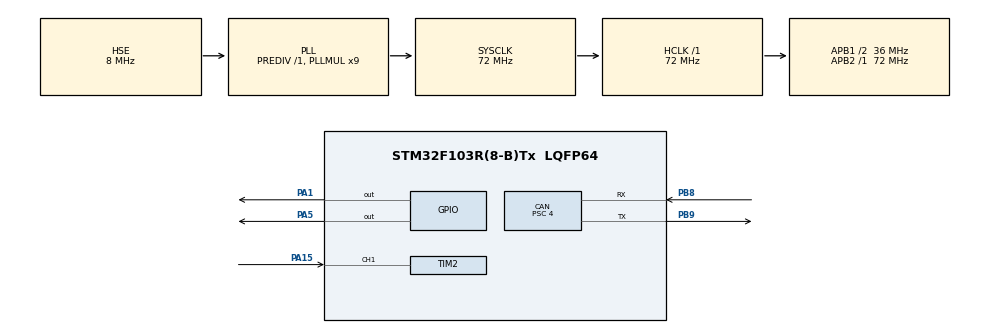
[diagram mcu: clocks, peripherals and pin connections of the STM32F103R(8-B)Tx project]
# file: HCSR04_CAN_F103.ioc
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CAN.BS1=CAN_BS1_15TQ
CAN.BS2=CAN_BS2_2TQ
CAN.CalculateBaudRate=500000
CAN.CalculateTimeBit=1999.99
CAN.CalculateTimeQuantum=111.11111111111111
CAN.Prescaler=4
Mcu.Family=STM32F1
Mcu.Name=STM32F103R(8-B)Tx
Mcu.Package=LQFP64
NVIC.CAN1_RX1_IRQn=true\:0\:0\:false\:false\:true\:true\:true
NVIC.PriorityGroup=NVIC_PRIORITYGROUP_4
NVIC.TIM1_UP_IRQn=true\:15\:0\:false\:false\:true\:false\:true
NVIC.TIM2_IRQn=true\:0\:0\:false\:false\:true\:true\:true
NVIC.TimeBase=TIM1_UP_IRQn
NVIC.TimeBaseIP=TIM1
PA1.Signal=GPIO_Output
PA13.Mode=Serial_Wire
PA13.Signal=SYS_JTMS-SWDIO
PA14.Mode=Serial_Wire
PA14.Signal=SYS_JTCK-SWCLK
PA15.Signal=S_TIM2_CH1_ETR
PA5.Signal=GPIO_Output
PB8.Mode=CAN_Activate
PB8.Signal=CAN_RX
PB9.Mode=CAN_Activate
PB9.Signal=CAN_TX
PD0-OSC_IN.Mode=HSE-External-Oscillator
PD0-OSC_IN.Signal=RCC_OSC_IN
PD1-OSC_OUT.Mode=HSE-External-Oscillator
PD1-OSC_OUT.Signal=RCC_OSC_OUT
ProjectManager.HeapSize=0x200
ProjectManager.StackSize=0x400
ProjectManager.TargetToolchain=STM32CubeIDE
RCC.AHBFreq_Value=72000000
RCC.APB1CLKDivider=RCC_HCLK_DIV2
RCC.APB1Freq_Value=36000000
RCC.APB1TimFreq_Value=72000000
RCC.APB2Freq_Value=72000000
RCC.APB2TimFreq_Value=72000000
RCC.HCLKFreq_Value=72000000
RCC.PLLMUL=RCC_PLL_MUL9
RCC.PLLSourceVirtual=RCC_PLLSOURCE_HSE
RCC.RTCClockSelection=RCC_RTCCLKSOURCE_LSE
RCC.SYSCLKFreq_VALUE=72000000
RCC.SYSCLKSource=RCC_SYSCLKSOURCE_PLLCLK
RCC.USBFreq_Value=72000000
SH.S_TIM2_CH1_ETR.0=TIM2_CH1,Input_Capture1_from_TI1
TIM2.Channel-Input_Capture1_from_TI1=TIM_CHANNEL_1
TIM2.Prescaler=72-1
VP_SYS_VS_tim1.Mode=TIM1
VP_TIM2_VS_ClockSourceINT.Mode=Internal
board=NUCLEO-F103RB

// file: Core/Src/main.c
/* USER CODE BEGIN Header */
/**
  ******************************************************************************
  * @file           : main.c
  * @brief          : Main program body
  ******************************************************************************
  * @attention
  *
  * <h2><center>&copy; Copyright (c) 2021 STMicroelectronics.
  * All rights reserved.</center></h2>
  *
  * This software component is licensed by ST under BSD 3-Clause license,
  * the "License"; You may not use this file except in compliance with the
  * License. You may obtain a copy of the License at:
  *                        opensource.org/licenses/BSD-3-Clause
  *
  ******************************************************************************
  */
/* USER CODE END Header */
#include "main.h"

/* USER CODE BEGIN Includes */
#include <string.h>
/* USER CODE END Includes */

/* USER CODE BEGIN PM */
#define TRIGGER_PORT	GPIOA
#define TRIGGER_PIN		GPIO_PIN_1
/* USER CODE END PM */

CAN_HandleTypeDef hcan;

TIM_HandleTypeDef htim2;

/* USER CODE BEGIN PV */

/* CAN Variables */
CAN_TxHeaderTypeDef TxHeader;
CAN_RxHeaderTypeDef RxHeader;
uint8_t TxData[8];
uint8_t RxData[8];
uint32_t TxMailbox;

const uint8_t idNumber = 0x10;
uint8_t comingData;

/* HCSR04 Variable */
uint32_t IC_Val1;
uint32_t IC_Val2;
uint32_t Difference;
uint8_t First_Capture;
uint16_t Distance;

/* USER CODE END PV */

void SystemClock_Config(void);
static void MX_GPIO_Init(void);
static void MX_CAN_Init(void);
static void MX_TIM2_Init(void);

/* USER CODE BEGIN 0 */

void delay_uS(uint16_t time)
{
	HAL_TIM_Base_Start(&htim2);
	__HAL_TIM_SET_COUNTER(&htim2,0);
	while( __HAL_TIM_GET_COUNTER(&htim2) < time );
	HAL_TIM_Base_Start(&htim2);
}

void HAL_TIM_IC_CaptureCallback(TIM_HandleTypeDef *htim)
{
	if(htim->Channel == HAL_TIM_ACTIVE_CHANNEL_1)
	{
		if(First_Capture == 0)
		{
			IC_Val1 = HAL_TIM_ReadCapturedValue(&htim2, TIM_CHANNEL_1);
			First_Capture = 1;

			__HAL_TIM_SET_CAPTUREPOLARITY(&htim2,TIM_CHANNEL_1,TIM_INPUTCHANNELPOLARITY_FALLING);
		}

		else if( First_Capture == 1)
		{
			IC_Val2 = HAL_TIM_ReadCapturedValue(&htim2, TIM_CHANNEL_1);
			__HAL_TIM_SET_COUNTER(&htim2,0);
			First_Capture = 0;

			if(IC_Val2 > IC_Val1)
			{
				Difference = IC_Val2 - IC_Val1;
			}

			else
			{
				Difference = (0xFFFF - IC_Val1) + IC_Val2;
			}

			Distance = Difference * (0.034 / 2);

			__HAL_TIM_SET_CAPTUREPOLARITY(&htim2,TIM_CHANNEL_1,TIM_INPUTCHANNELPOLARITY_RISING);
			__HAL_TIM_DISABLE_IT(&htim2,TIM_IT_CC1);
		}

	}

}

void HAL_CAN_RxFifo1MsgPendingCallback(CAN_HandleTypeDef *hcan)
{
	if(HAL_CAN_GetRxMessage(hcan, CAN_RX_FIFO1, &RxHeader, RxData) != HAL_OK)
	{
		Error_Handler();
	}

	if(memcmp(RxData, &idNumber, sizeof(idNumber)) == 0)
	{
		HAL_GPIO_WritePin(GPIOA, GPIO_PIN_5, GPIO_PIN_SET); 	/* For testing */
		comingData = 1;
	}

}

void HCSR04_Config()
{
	HAL_GPIO_WritePin(TRIGGER_PORT, TRIGGER_PIN, GPIO_PIN_SET);
	delay_uS(10);
	HAL_GPIO_WritePin(TRIGGER_PORT, TRIGGER_PIN, GPIO_PIN_RESET);
	__HAL_TIM_ENABLE_IT(&htim2,TIM_IT_CC1);
}

/* USER CODE END 0 */

int main(void)
{

  /* MCU Configuration--------------------------------------------------------*/

  /* Reset of all peripherals, Initializes the Flash interface and the Systick. */
  HAL_Init();

  /* Configure the system clock */
  SystemClock_Config();

  /* Initialize all configured peripherals */
  MX_GPIO_Init();
  MX_CAN_Init();
  MX_TIM2_Init();
  /* USER CODE BEGIN 2 */

  /* Timer Start */
  if(HAL_TIM_IC_Start_IT(&htim2, TIM_CHANNEL_1) != HAL_OK)
  {
	  Error_Handler();
  }
  /* Start CAN Communication */
  if(HAL_CAN_Start(&hcan) != HAL_OK)
  {
	  Error_Handler();
  }

  /* Enable CAN Interrupt */
  if(HAL_CAN_ActivateNotification(&hcan, CAN_IT_RX_FIFO1_MSG_PENDING) != HAL_OK)
  {
	  Error_Handler();
  }

  /* USER CODE END 2 */

  /* Infinite loop */
  while (1)
  {

    /* USER CODE BEGIN 3 */
	  HCSR04_Config();
	  HAL_Delay(200);

	  if(comingData)
	  {
		 HAL_GPIO_WritePin(GPIOA, GPIO_PIN_5, GPIO_PIN_RESET);		/* for testing */

	  /* We can send 8 bit data but distance value can be 16-bit value so we have to send in this way  */
		  if(Distance > 255)
		  {
			  TxData[0] = 255;
			  TxData[1] = Distance - 255;
		  }
		  else if(Distance < 255)
		  {
			  TxData[0] = Distance;
			  TxData[1] = 0;
		  }

		  if(HAL_CAN_AddTxMessage(&hcan, &TxHeader, TxData, &TxMailbox) != HAL_OK)
		  {
			  Error_Handler();
		  }

		  comingData = 0;
	  }

  }
  /* USER CODE END 3 */
}

void SystemClock_Config(void)
{
  RCC_OscInitTypeDef RCC_OscInitStruct = {0};
  RCC_ClkInitTypeDef RCC_ClkInitStruct = {0};

  /** Initializes the RCC Oscillators according to the specified parameters
  * in the RCC_OscInitTypeDef structure.
  */
  RCC_OscInitStruct.OscillatorType = RCC_OSCILLATORTYPE_HSE;
  RCC_OscInitStruct.HSEState = RCC_HSE_ON;
  RCC_OscInitStruct.HSEPredivValue = RCC_HSE_PREDIV_DIV1;
  RCC_OscInitStruct.HSIState = RCC_HSI_ON;
  RCC_OscInitStruct.PLL.PLLState = RCC_PLL_ON;
  RCC_OscInitStruct.PLL.PLLSource = RCC_PLLSOURCE_HSE;
  RCC_OscInitStruct.PLL.PLLMUL = RCC_PLL_MUL9;
  if (HAL_RCC_OscConfig(&RCC_OscInitStruct) != HAL_OK)
  {
    Error_Handler();
  }
  /** Initializes the CPU, AHB and APB buses clocks
  */
  RCC_ClkInitStruct.ClockType = RCC_CLOCKTYPE_HCLK|RCC_CLOCKTYPE_SYSCLK
                              |RCC_CLOCKTYPE_PCLK1|RCC_CLOCKTYPE_PCLK2;
  RCC_ClkInitStruct.SYSCLKSource = RCC_SYSCLKSOURCE_PLLCLK;
  RCC_ClkInitStruct.AHBCLKDivider = RCC_SYSCLK_DIV1;
  RCC_ClkInitStruct.APB1CLKDivider = RCC_HCLK_DIV2;
  RCC_ClkInitStruct.APB2CLKDivider = RCC_HCLK_DIV1;

  if (HAL_RCC_ClockConfig(&RCC_ClkInitStruct, FLASH_LATENCY_2) != HAL_OK)
  {
    Error_Handler();
  }
}

static void MX_CAN_Init(void)
{

  hcan.Instance = CAN1;
  hcan.Init.Prescaler = 4;
  hcan.Init.Mode = CAN_MODE_NORMAL;
  hcan.Init.SyncJumpWidth = CAN_SJW_1TQ;
  hcan.Init.TimeSeg1 = CAN_BS1_15TQ;
  hcan.Init.TimeSeg2 = CAN_BS2_2TQ;
  hcan.Init.TimeTriggeredMode = DISABLE;
  hcan.Init.AutoBusOff = DISABLE;
  hcan.Init.AutoWakeUp = DISABLE;
  hcan.Init.AutoRetransmission = DISABLE;
  hcan.Init.ReceiveFifoLocked = DISABLE;
  hcan.Init.TransmitFifoPriority = DISABLE;
  if (HAL_CAN_Init(&hcan) != HAL_OK)
  {
    Error_Handler();
  }
  /* USER CODE BEGIN CAN_Init 2 */

  TxHeader.DLC = 2;
  TxHeader.IDE = CAN_ID_STD;
  TxHeader.RTR = CAN_RTR_DATA;
  TxHeader.StdId = 0x100;

  /* CAN Filter Configuration(No Filter) */
//  CAN_FilterTypeDef FilterConfig;
//
//  FilterConfig.FilterActivation = CAN_FILTER_ENABLE;
//  FilterConfig.FilterBank = 1;
//  FilterConfig.FilterFIFOAssignment = CAN_FILTER_FIFO1;
//  FilterConfig.FilterIdHigh = 0x0000 << 5;
//  FilterConfig.FilterIdLow = 0x0000;
//  FilterConfig.FilterMaskIdHigh = 0x0000 << 5;
//  FilterConfig.FilterMaskIdLow = 0x0000;
//  FilterConfig.FilterMode = CAN_FILTERMODE_IDMASK;
//  FilterConfig.FilterScale = CAN_FILTERSCALE_32BIT;
//
//  HAL_CAN_ConfigFilter(&hcan, &FilterConfig);

  /* CAN Filter Configuration(Filter) StdId 0x407 is only accepted */
  CAN_FilterTypeDef FilterConfig;

    FilterConfig.FilterActivation = CAN_FILTER_ENABLE;
    FilterConfig.FilterBank = 10;
    FilterConfig.FilterFIFOAssignment = CAN_FILTER_FIFO1;
    FilterConfig.FilterIdHigh = 0x0407 << 5;
    FilterConfig.FilterIdLow = 0x0000;
    FilterConfig.FilterMaskIdHigh = 0xFFFF << 5;
    FilterConfig.FilterMaskIdLow = 0x0000;
    FilterConfig.FilterMode = CAN_FILTERMODE_IDMASK;
    FilterConfig.FilterScale = CAN_FILTERSCALE_32BIT;

    HAL_CAN_ConfigFilter(&hcan, &FilterConfig);
  /* USER CODE END CAN_Init 2 */

}

static void MX_TIM2_Init(void)
{

  TIM_ClockConfigTypeDef sClockSourceConfig = {0};
  TIM_MasterConfigTypeDef sMasterConfig = {0};
  TIM_IC_InitTypeDef sConfigIC = {0};

  htim2.Instance = TIM2;
  htim2.Init.Prescaler = 72-1;
  htim2.Init.CounterMode = TIM_COUNTERMODE_UP;
  htim2.Init.Period = 65535;
  htim2.Init.ClockDivision = TIM_CLOCKDIVISION_DIV1;
  htim2.Init.AutoReloadPreload = TIM_AUTORELOAD_PRELOAD_DISABLE;
  if (HAL_TIM_Base_Init(&htim2) != HAL_OK)
  {
    Error_Handler();
  }
  sClockSourceConfig.ClockSource = TIM_CLOCKSOURCE_INTERNAL;
  if (HAL_TIM_ConfigClockSource(&htim2, &sClockSourceConfig) != HAL_OK)
  {
    Error_Handler();
  }
  if (HAL_TIM_IC_Init(&htim2) != HAL_OK)
  {
    Error_Handler();
  }
  sMasterConfig.MasterOutputTrigger = TIM_TRGO_RESET;
  sMasterConfig.MasterSlaveMode = TIM_MASTERSLAVEMODE_DISABLE;
  if (HAL_TIMEx_MasterConfigSynchronization(&htim2, &sMasterConfig) != HAL_OK)
  {
    Error_Handler();
  }
  sConfigIC.ICPolarity = TIM_INPUTCHANNELPOLARITY_RISING;
  sConfigIC.ICSelection = TIM_ICSELECTION_DIRECTTI;
  sConfigIC.ICPrescaler = TIM_ICPSC_DIV1;
  sConfigIC.ICFilter = 0;
  if (HAL_TIM_IC_ConfigChannel(&htim2, &sConfigIC, TIM_CHANNEL_1) != HAL_OK)
  {
    Error_Handler();
  }

}

static void MX_GPIO_Init(void)
{
  GPIO_InitTypeDef GPIO_InitStruct = {0};

  /* GPIO Ports Clock Enable */
  __HAL_RCC_GPIOD_CLK_ENABLE();
  __HAL_RCC_GPIOA_CLK_ENABLE();
  __HAL_RCC_GPIOB_CLK_ENABLE();

  /*Configure GPIO pin Output Level */
  HAL_GPIO_WritePin(GPIOA, GPIO_PIN_1|GPIO_PIN_5, GPIO_PIN_RESET);

  /*Configure GPIO pins : PA1 PA5 */
  GPIO_InitStruct.Pin = GPIO_PIN_1|GPIO_PIN_5;
  GPIO_InitStruct.Mode = GPIO_MODE_OUTPUT_PP;
  GPIO_InitStruct.Pull = GPIO_NOPULL;
  GPIO_InitStruct.Speed = GPIO_SPEED_FREQ_LOW;
  HAL_GPIO_Init(GPIOA, &GPIO_InitStruct);

}

void HAL_TIM_PeriodElapsedCallback(TIM_HandleTypeDef *htim)
{
  if (htim->Instance == TIM1) {
    HAL_IncTick();
  }
}

void Error_Handler(void)
{
  __disable_irq();
  while (1)
  {
  }
}

/************************ (C) COPYRIGHT STMicroelectronics *****END OF FILE****/
